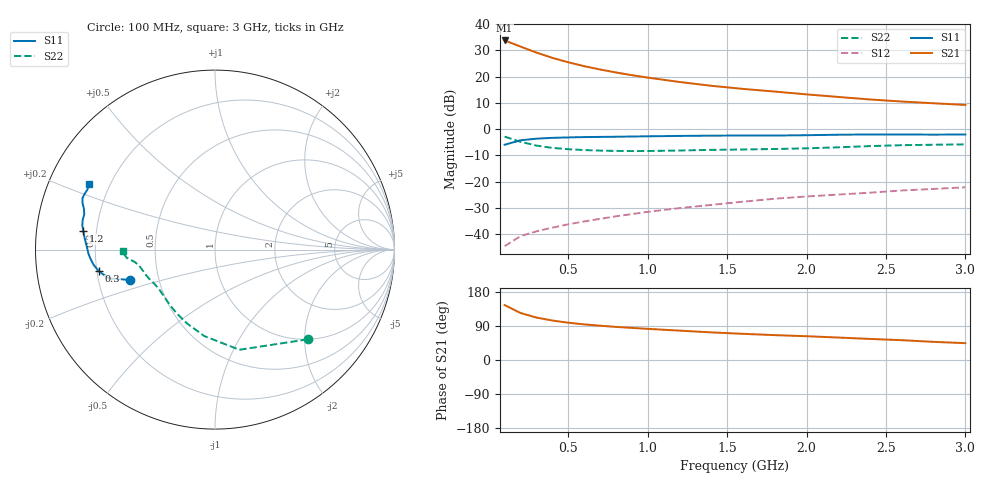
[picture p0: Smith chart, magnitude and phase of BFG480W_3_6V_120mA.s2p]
! Filename: 3_6120BFG480.001
! Title: BFG480W
! Bias: Vce=3.6V; Ic=120mA
! Company: Philips Semiconductors NL
! User: Quality&Reliability T&D
! Measure time: 10 Nov 1999 / 12:01:24
#  MHz  S  MA  R 50
! Freq  S11  S21  S12  S22  :
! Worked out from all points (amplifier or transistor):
!   20 points, 100 MHz to 3 GHz, reference 50 ohm
!   highest |S21| = 33.8 dB at 100 MHz (marker M1)
!   |S21| within 3 dB of that: start of sweep to 229.4 MHz
!   unconditionally stable (mu >= 1): 619.4 MHz to end of sweep
!   at 400 MHz: K = 0.87, MSG = 32.4 dB, |S12| = -37.6 dB
!   at 1.2 GHz: K = 1.09, MAG = 22.2 dB, |S12| = -30.1 dB
!   at 3 GHz: K = 1.06, MAG = 14.2 dB, |S12| = -22.2 dB
!   S11 on the Smith chart (normalised r, x): 100 MHz: 0.34, -0.15; 300 MHz: 0.21, -0.09; 1.2 GHz: 0.15, +0.07; 3 GHz: 0.12, +0.24
100  0.5036 -160.4  49.09 145.0  0.005863 68.5  0.7189 -44.1
200  0.6122 -164.8  37.57 124.0  0.009107 61.3  0.5742 -76.4
300  0.6579 -169.4  28.83 112.1  0.01125 61.2  0.4853 -97.0
400  0.6821 -172.9  22.87 104.2  0.01321 63.2  0.4391 -111.1
500  0.6951 -175.7  18.83 98.5  0.01529 65.5  0.4141 -121.1
600  0.7051 -178.0  15.89 94.0  0.01734 67.5  0.3992 -128.5
700  0.7105 180.0  13.73 90.5  0.01947 69.4  0.3897 -134.1
800  0.7162 178.1  12.04 87.4  0.02172 71.0  0.3841 -138.8
900  0.7235 176.3  10.7 84.8  0.02395 72.6  0.3819 -142.9
1000  0.7297 174.7  9.615 82.2  0.02646 73.5  0.3826 -146.5
1200  0.7418 171.9  7.932 77.5  0.03115 74.9  0.3912 -152.3
1400  0.7514 169.7  6.709 72.9  0.03589 75.6  0.4023 -156.5
1600  0.7554 167.4  5.851 69.1  0.04133 76.1  0.4094 -159.8
1800  0.7548 164.8  5.201 65.7  0.04709 76.5  0.4179 -163.4
2000  0.7652 162.7  4.603 62.8  0.05194 77.1  0.4301 -167.5
2200  0.7826 160.6  4.106 59.3  0.05647 76.8  0.4504 -171.0
2400  0.7919 158.9  3.677 55.6  0.06144 76.2  0.4748 -173.3
2600  0.7906 157.2  3.361 52.3  0.06764 75.4  0.4941 -174.7
2800  0.7856 154.9  3.114 47.9  0.07238 74.0  0.5038 -176.5
3000  0.7903 152.2  2.891 44.4  0.07779 73.1  0.5119 -179.3
